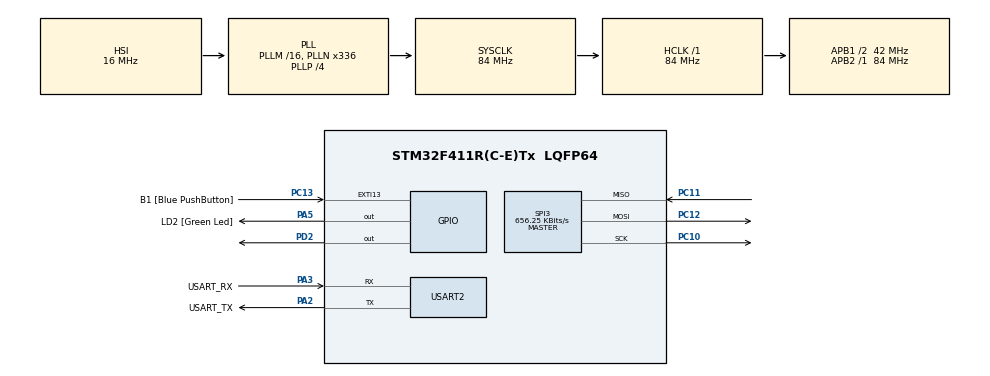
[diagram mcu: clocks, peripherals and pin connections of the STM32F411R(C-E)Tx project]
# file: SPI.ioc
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Mcu.Family=STM32F4
Mcu.Name=STM32F411R(C-E)Tx
Mcu.Package=LQFP64
NVIC.PriorityGroup=NVIC_PRIORITYGROUP_0
NVIC.SPI3_IRQn=true\:0\:0\:false\:false\:true\:true\:true\:true
PA13.GPIO_Label=TMS
PA13.Mode=Serial_Wire
PA13.Signal=SYS_JTMS-SWDIO
PA14.GPIO_Label=TCK
PA14.Mode=Serial_Wire
PA14.Signal=SYS_JTCK-SWCLK
PA2.GPIO_Label=USART_TX
PA2.Mode=Asynchronous
PA2.Signal=USART2_TX
PA3.GPIO_Label=USART_RX
PA3.Mode=Asynchronous
PA3.Signal=USART2_RX
PA5.GPIO_Label=LD2 [Green Led]
PA5.Signal=GPIO_Output
PB3.GPIO_Label=SWO
PB3.Signal=SYS_JTDO-SWO
PC10.Mode=Full_Duplex_Master
PC10.Signal=SPI3_SCK
PC11.Mode=Full_Duplex_Master
PC11.Signal=SPI3_MISO
PC12.Mode=Full_Duplex_Master
PC12.Signal=SPI3_MOSI
PC13-ANTI_TAMP.GPIO_Label=B1 [Blue PushButton]
PC13-ANTI_TAMP.GPIO_ModeDefaultEXTI=GPIO_MODE_IT_FALLING
PC13-ANTI_TAMP.Signal=GPXTI13
PC14-OSC32_IN.Mode=LSE-External-Oscillator
PC14-OSC32_IN.Signal=RCC_OSC32_IN
PC15-OSC32_OUT.Mode=LSE-External-Oscillator
PC15-OSC32_OUT.Signal=RCC_OSC32_OUT
PD2.PinState=GPIO_PIN_SET
PD2.Signal=GPIO_Output
PH0\ -\ OSC_IN.Mode=HSE-External-Clock-Source
PH0\ -\ OSC_IN.Signal=RCC_OSC_IN
PH1\ -\ OSC_OUT.Mode=HSE-External-Clock-Source
PH1\ -\ OSC_OUT.Signal=RCC_OSC_OUT
ProjectManager.HeapSize=0x200
ProjectManager.StackSize=0x400
ProjectManager.TargetToolchain=STM32CubeIDE
RCC.48MHZClocksFreq_Value=84000000
RCC.AHBFreq_Value=84000000
RCC.APB1CLKDivider=RCC_HCLK_DIV2
RCC.APB1Freq_Value=42000000
RCC.APB1TimFreq_Value=84000000
RCC.APB2Freq_Value=84000000
RCC.APB2TimFreq_Value=84000000
RCC.CortexFreq_Value=84000000
RCC.FLatency-AdvancedSettings=FLASH_LATENCY_2
RCC.HCLKFreq_Value=84000000
RCC.HSE_VALUE=8000000
RCC.HSI_VALUE=16000000
RCC.PLLN=336
RCC.PLLP=RCC_PLLP_DIV4
RCC.SYSCLKFreq_VALUE=84000000
RCC.SYSCLKSource=RCC_SYSCLKSOURCE_PLLCLK
RCC.VCOOutputFreq_Value=336000000
SPI3.BaudRatePrescaler=SPI_BAUDRATEPRESCALER_64
SPI3.CLKPhase=SPI_PHASE_1EDGE
SPI3.CLKPolarity=SPI_POLARITY_LOW
SPI3.CalculateBaudRate=656.25 KBits/s
SPI3.Direction=SPI_DIRECTION_2LINES
SPI3.Mode=SPI_MODE_MASTER
SPI3.VirtualType=VM_MASTER
USART2.VirtualMode=VM_ASYNC
board=NUCLEO-F411RE

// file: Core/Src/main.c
/* USER CODE BEGIN Header */
/**
  ******************************************************************************
  * @file           : main.c
  * @brief          : Main program body
  ******************************************************************************
  * @attention
  *
  * Copyright (c) 2023 STMicroelectronics.
  * All rights reserved.
  *
  * This software is licensed under terms that can be found in the LICENSE file
  * in the root directory of this software component.
  * If no LICENSE file comes with this software, it is provided AS-IS.
  *
  ******************************************************************************
  */
/* USER CODE END Header */
#include "main.h"

SPI_HandleTypeDef hspi3;

UART_HandleTypeDef huart2;

/* USER CODE BEGIN PV */
uint8_t SPIRx[10];
uint8_t SPITx[10];
uint8_t TxLed[10];
uint32_t Mode = 0;
uint32_t L_Mode = 999;
uint8_t flag = 1;
uint64_t count = 0;
uint32_t list[8] = {0b11111110,0b11111101,0b11111011,0b11110111,0b11101111,0b11011111,0b10111111,0b01111111};
uint32_t list2[2] = {0b10101010,0b01010101};
/* USER CODE END PV */

void SystemClock_Config(void);
static void MX_GPIO_Init(void);
static void MX_USART2_UART_Init(void);
static void MX_SPI3_Init(void);
/* USER CODE BEGIN PFP */
void SPITxRx_Setup();
void SPITxRx_readIO();
void SPITxRx_writeIO();
/* USER CODE END PFP */

int main(void)
{

  /* MCU Configuration--------------------------------------------------------*/

  /* Reset of all peripherals, Initializes the Flash interface and the Systick. */
  HAL_Init();

  /* Configure the system clock */
  SystemClock_Config();

  /* Initialize all configured peripherals */
  MX_GPIO_Init();
  MX_USART2_UART_Init();
  MX_SPI3_Init();
  /* USER CODE BEGIN 2 */
SPITxRx_Setup();

HAL_GPIO_WritePin(GPIOD, GPIO_PIN_2, 0);
TxLed[0] = 0b01000000;
TxLed[1] = 0x01;
TxLed[2] = 0b00000000;
HAL_SPI_Transmit_IT(&hspi3, TxLed, 3);

HAL_Delay(20);
if(HAL_GPIO_ReadPin(GPIOD, GPIO_PIN_2)){
	HAL_GPIO_WritePin(GPIOD, GPIO_PIN_2, 0);
	TxLed[0] = 0b01000000;
	TxLed[1] = 0x15;
	TxLed[2] = 0b11111111;
	HAL_SPI_Transmit_IT(&hspi3, TxLed, 3);
}

  /* USER CODE END 2 */

  /* Infinite loop */
  /* USER CODE BEGIN WHILE */
  while (1)
  {

	  SPITxRx_readIO();
	  SPITxRx_writeIO();
    /* USER CODE END WHILE */

  }
}

void SystemClock_Config(void)
{
  RCC_OscInitTypeDef RCC_OscInitStruct = {0};
  RCC_ClkInitTypeDef RCC_ClkInitStruct = {0};

  /** Configure the main internal regulator output voltage
  */
  __HAL_RCC_PWR_CLK_ENABLE();
  __HAL_PWR_VOLTAGESCALING_CONFIG(PWR_REGULATOR_VOLTAGE_SCALE1);

  /** Initializes the RCC Oscillators according to the specified parameters
  * in the RCC_OscInitTypeDef structure.
  */
  RCC_OscInitStruct.OscillatorType = RCC_OSCILLATORTYPE_HSI;
  RCC_OscInitStruct.HSIState = RCC_HSI_ON;
  RCC_OscInitStruct.HSICalibrationValue = RCC_HSICALIBRATION_DEFAULT;
  RCC_OscInitStruct.PLL.PLLState = RCC_PLL_ON;
  RCC_OscInitStruct.PLL.PLLSource = RCC_PLLSOURCE_HSI;
  RCC_OscInitStruct.PLL.PLLM = 16;
  RCC_OscInitStruct.PLL.PLLN = 336;
  RCC_OscInitStruct.PLL.PLLP = RCC_PLLP_DIV4;
  RCC_OscInitStruct.PLL.PLLQ = 4;
  if (HAL_RCC_OscConfig(&RCC_OscInitStruct) != HAL_OK)
  {
    Error_Handler();
  }

  /** Initializes the CPU, AHB and APB buses clocks
  */
  RCC_ClkInitStruct.ClockType = RCC_CLOCKTYPE_HCLK|RCC_CLOCKTYPE_SYSCLK
                              |RCC_CLOCKTYPE_PCLK1|RCC_CLOCKTYPE_PCLK2;
  RCC_ClkInitStruct.SYSCLKSource = RCC_SYSCLKSOURCE_PLLCLK;
  RCC_ClkInitStruct.AHBCLKDivider = RCC_SYSCLK_DIV1;
  RCC_ClkInitStruct.APB1CLKDivider = RCC_HCLK_DIV2;
  RCC_ClkInitStruct.APB2CLKDivider = RCC_HCLK_DIV1;

  if (HAL_RCC_ClockConfig(&RCC_ClkInitStruct, FLASH_LATENCY_2) != HAL_OK)
  {
    Error_Handler();
  }
}

static void MX_SPI3_Init(void)
{

  /* SPI3 parameter configuration*/
  hspi3.Instance = SPI3;
  hspi3.Init.Mode = SPI_MODE_MASTER;
  hspi3.Init.Direction = SPI_DIRECTION_2LINES;
  hspi3.Init.DataSize = SPI_DATASIZE_8BIT;
  hspi3.Init.CLKPolarity = SPI_POLARITY_LOW;
  hspi3.Init.CLKPhase = SPI_PHASE_1EDGE;
  hspi3.Init.NSS = SPI_NSS_SOFT;
  hspi3.Init.BaudRatePrescaler = SPI_BAUDRATEPRESCALER_64;
  hspi3.Init.FirstBit = SPI_FIRSTBIT_MSB;
  hspi3.Init.TIMode = SPI_TIMODE_DISABLE;
  hspi3.Init.CRCCalculation = SPI_CRCCALCULATION_DISABLE;
  hspi3.Init.CRCPolynomial = 10;
  if (HAL_SPI_Init(&hspi3) != HAL_OK)
  {
    Error_Handler();
  }

}

static void MX_USART2_UART_Init(void)
{

  huart2.Instance = USART2;
  huart2.Init.BaudRate = 115200;
  huart2.Init.WordLength = UART_WORDLENGTH_8B;
  huart2.Init.StopBits = UART_STOPBITS_1;
  huart2.Init.Parity = UART_PARITY_NONE;
  huart2.Init.Mode = UART_MODE_TX_RX;
  huart2.Init.HwFlowCtl = UART_HWCONTROL_NONE;
  huart2.Init.OverSampling = UART_OVERSAMPLING_16;
  if (HAL_UART_Init(&huart2) != HAL_OK)
  {
    Error_Handler();
  }

}

static void MX_GPIO_Init(void)
{
  GPIO_InitTypeDef GPIO_InitStruct = {0};

  /* GPIO Ports Clock Enable */
  __HAL_RCC_GPIOC_CLK_ENABLE();
  __HAL_RCC_GPIOH_CLK_ENABLE();
  __HAL_RCC_GPIOA_CLK_ENABLE();
  __HAL_RCC_GPIOD_CLK_ENABLE();
  __HAL_RCC_GPIOB_CLK_ENABLE();

  /*Configure GPIO pin Output Level */
  HAL_GPIO_WritePin(LD2_GPIO_Port, LD2_Pin, GPIO_PIN_RESET);

  /*Configure GPIO pin Output Level */
  HAL_GPIO_WritePin(GPIOD, GPIO_PIN_2, GPIO_PIN_SET);

  /*Configure GPIO pin : B1_Pin */
  GPIO_InitStruct.Pin = B1_Pin;
  GPIO_InitStruct.Mode = GPIO_MODE_IT_FALLING;
  GPIO_InitStruct.Pull = GPIO_NOPULL;
  HAL_GPIO_Init(B1_GPIO_Port, &GPIO_InitStruct);

  /*Configure GPIO pin : LD2_Pin */
  GPIO_InitStruct.Pin = LD2_Pin;
  GPIO_InitStruct.Mode = GPIO_MODE_OUTPUT_PP;
  GPIO_InitStruct.Pull = GPIO_NOPULL;
  GPIO_InitStruct.Speed = GPIO_SPEED_FREQ_LOW;
  HAL_GPIO_Init(LD2_GPIO_Port, &GPIO_InitStruct);

  /*Configure GPIO pin : PD2 */
  GPIO_InitStruct.Pin = GPIO_PIN_2;
  GPIO_InitStruct.Mode = GPIO_MODE_OUTPUT_PP;
  GPIO_InitStruct.Pull = GPIO_NOPULL;
  GPIO_InitStruct.Speed = GPIO_SPEED_FREQ_LOW;
  HAL_GPIO_Init(GPIOD, &GPIO_InitStruct);

}

/* USER CODE BEGIN 4 */
void SPITxRx_Setup(){
	//Cs_pulse
	HAL_GPIO_WritePin(GPIOD, GPIO_PIN_2, 0);
	HAL_Delay(1);
	HAL_GPIO_WritePin(GPIOD, GPIO_PIN_2, 1);
	HAL_Delay(1);
}

void SPITxRx_readIO(){
	HAL_Delay(1);
	if(HAL_GPIO_ReadPin(GPIOD, GPIO_PIN_2)){
		HAL_GPIO_WritePin(GPIOD, GPIO_PIN_2, 0);
		SPITx[0] = 0b01000001;
		SPITx[1] = 0x12;
		SPITx[2] = 0;
		SPITx[3] = 0;
		HAL_SPI_TransmitReceive_IT(&hspi3, SPITx, SPIRx, 4);
		if(SPIRx[2] != 255 && SPIRx[2] != 0 && Mode != SPIRx[2]){
			Mode = SPIRx[2];
		}
	}
}

void SPITxRx_writeIO(){
	HAL_Delay(1);
	if(HAL_GPIO_ReadPin(GPIOD, GPIO_PIN_2)){
		count += 1;
		if(Mode == 0b11111110){
			HAL_Delay(1000);
			HAL_GPIO_WritePin(GPIOD, GPIO_PIN_2, 0);
			TxLed[0] = 0b01000000;
			TxLed[1] = 0x15;
			TxLed[2] = list[count%8];
			HAL_SPI_Transmit_IT(&hspi3, TxLed, 3);
		}
	else if(Mode == 0b11111101){
		HAL_Delay(1000);
		HAL_GPIO_WritePin(GPIOD, GPIO_PIN_2, 0);
		TxLed[0] = 0b01000000;
		TxLed[1] = 0x15;
		TxLed[2] = list2[count%2];
		HAL_SPI_Transmit_IT(&hspi3, TxLed, 3);
	}
	}
//	else if(Mode == 0b11111011){
//
//	}
//	else if(Mode == 0b11110111){
//
//	}
}
void HAL_SPI_TxCpltCallback(SPI_HandleTypeDef *hspi){
	HAL_GPIO_WritePin(GPIOD, GPIO_PIN_2, 1);
}
void HAL_SPI_TxRxCpltCallback(SPI_HandleTypeDef *hspi){
	HAL_GPIO_WritePin(GPIOD, GPIO_PIN_2, 1);
}
/* USER CODE END 4 */

void Error_Handler(void)
{
  __disable_irq();
  while (1)
  {
  }
}
